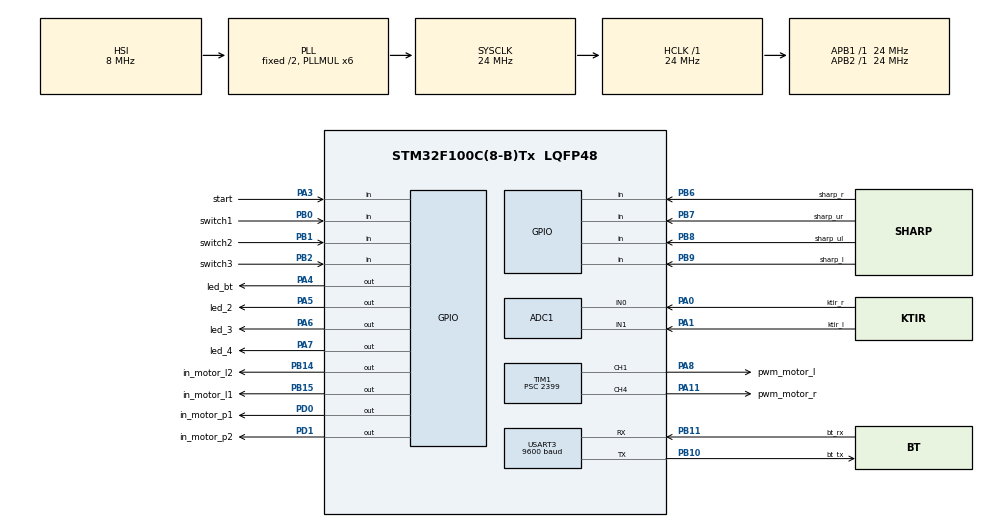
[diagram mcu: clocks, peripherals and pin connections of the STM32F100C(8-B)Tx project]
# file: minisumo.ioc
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ADC1.Channel-0\#ChannelRegularConversion=ADC_CHANNEL_0
ADC1.NbrOfConversionFlag=1
ADC1.Rank-0\#ChannelRegularConversion=1
ADC1.SamplingTime-0\#ChannelRegularConversion=ADC_SAMPLETIME_1CYCLE_5
ADC1.master=1
Mcu.Family=STM32F1
Mcu.Name=STM32F100C(8-B)Tx
Mcu.Package=LQFP48
NVIC.PriorityGroup=NVIC_PRIORITYGROUP_4
NVIC.USART3_IRQn=true\:0\:0\:false\:false\:true\:true
PA0-WKUP.GPIO_Label=ktir_r
PA0-WKUP.Signal=ADCx_IN0
PA1.GPIO_Label=ktir_l
PA1.Signal=ADCx_IN1
PA11.GPIO_Label=pwm_motor_r
PA11.Signal=S_TIM1_CH4
PA13.Mode=Serial_Wire
PA13.Signal=SYS_JTMS-SWDIO
PA14.Mode=Serial_Wire
PA14.Signal=SYS_JTCK-SWCLK
PA3.GPIO_Label=start
PA3.Signal=GPIO_Input
PA4.GPIO_Label=led_bt
PA4.Signal=GPIO_Output
PA5.GPIO_Label=led_2
PA5.Signal=GPIO_Output
PA6.GPIO_Label=led_3
PA6.Signal=GPIO_Output
PA7.GPIO_Label=led_4
PA7.Signal=GPIO_Output
PA8.GPIO_Label=pwm_motor_l
PA8.Signal=S_TIM1_CH1
PB0.GPIO_Label=switch1
PB0.Signal=GPIO_Input
PB1.GPIO_Label=switch2
PB1.Signal=GPIO_Input
PB10.GPIO_Label=bt_tx
PB10.Mode=Asynchronous
PB10.Signal=USART3_TX
PB11.GPIO_Label=bt_rx
PB11.Mode=Asynchronous
PB11.Signal=USART3_RX
PB14.GPIO_Label=in_motor_l2
PB14.Signal=GPIO_Output
PB15.GPIO_Label=in_motor_l1
PB15.Signal=GPIO_Output
PB2.GPIO_Label=switch3
PB2.Signal=GPIO_Input
PB6.GPIO_Label=sharp_r
PB6.Signal=GPIO_Input
PB7.GPIO_Label=sharp_ur
PB7.Signal=GPIO_Input
PB8.GPIO_Label=sharp_ul
PB8.Signal=GPIO_Input
PB9.GPIO_Label=sharp_l
PB9.Signal=GPIO_Input
PD0-OSC_IN.GPIO_Label=in_motor_p1
PD0-OSC_IN.Signal=GPIO_Output
PD1-OSC_OUT.GPIO_Label=in_motor_p2
PD1-OSC_OUT.Signal=GPIO_Output
ProjectManager.HeapSize=0x200
ProjectManager.StackSize=0x400
ProjectManager.TargetToolchain=SW4STM32
RCC.AHBFreq_Value=24000000
RCC.APB1Freq_Value=24000000
RCC.APB1TimFreq_Value=24000000
RCC.APB2Freq_Value=24000000
RCC.APB2TimFreq_Value=24000000
RCC.HCLKFreq_Value=24000000
RCC.PLLMUL=RCC_PLL_MUL6
RCC.SYSCLKFreq_VALUE=24000000
RCC.SYSCLKSource=RCC_SYSCLKSOURCE_PLLCLK
SH.ADCx_IN0.0=ADC1_IN0,IN0
SH.ADCx_IN1.0=ADC1_IN1,IN1
SH.S_TIM1_CH1.0=TIM1_CH1,PWM Generation1 CH1
SH.S_TIM1_CH4.0=TIM1_CH4,PWM Generation4 CH4
TIM1.Channel-PWM\ Generation1\ CH1=TIM_CHANNEL_1
TIM1.Channel-PWM\ Generation4\ CH4=TIM_CHANNEL_4
TIM1.Period=99
TIM1.Prescaler=2399
USART3.BaudRate=9600
USART3.VirtualMode=VM_ASYNC
VP_TIM1_VS_ClockSourceINT.Mode=Internal
board=minisumo

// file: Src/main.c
/**
  ******************************************************************************
  * File Name          : main.c
  * Description        : Main program body
  ******************************************************************************
  ** This notice applies to any and all portions of this file
  * that are not between comment pairs USER CODE BEGIN and
  * USER CODE END. Other portions of this file, whether
  * inserted by the user or by software development tools
  * are owned by their respective copyright owners.
  *
  * COPYRIGHT(c) 2017 STMicroelectronics
  *
  * Redistribution and use in source and binary forms, with or without modification,
  * are permitted provided that the following conditions are met:
  *   1. Redistributions of source code must retain the above copyright notice,
  *      this list of conditions and the following disclaimer.
  *   2. Redistributions in binary form must reproduce the above copyright notice,
  *      this list of conditions and the following disclaimer in the documentation
  *      and/or other materials provided with the distribution.
  *   3. Neither the name of STMicroelectronics nor the names of its contributors
  *      may be used to endorse or promote products derived from this software
  *      without specific prior written permission.
  *
  * THIS SOFTWARE IS PROVIDED BY THE COPYRIGHT HOLDERS AND CONTRIBUTORS "AS IS"
  * AND ANY EXPRESS OR IMPLIED WARRANTIES, INCLUDING, BUT NOT LIMITED TO, THE
  * IMPLIED WARRANTIES OF MERCHANTABILITY AND FITNESS FOR A PARTICULAR PURPOSE ARE
  * DISCLAIMED. IN NO EVENT SHALL THE COPYRIGHT HOLDER OR CONTRIBUTORS BE LIABLE
  * FOR ANY DIRECT, INDIRECT, INCIDENTAL, SPECIAL, EXEMPLARY, OR CONSEQUENTIAL
  * DAMAGES (INCLUDING, BUT NOT LIMITED TO, PROCUREMENT OF SUBSTITUTE GOODS OR
  * SERVICES; LOSS OF USE, DATA, OR PROFITS; OR BUSINESS INTERRUPTION) HOWEVER
  * CAUSED AND ON ANY THEORY OF LIABILITY, WHETHER IN CONTRACT, STRICT LIABILITY,
  * OR TORT (INCLUDING NEGLIGENCE OR OTHERWISE) ARISING IN ANY WAY OUT OF THE USE
  * OF THIS SOFTWARE, EVEN IF ADVISED OF THE POSSIBILITY OF SUCH DAMAGE.
  *
  ******************************************************************************
  */
#include "main.h"
#include "stm32f1xx_hal.h"

/* USER CODE BEGIN Includes */
#include "stdbool.h"
#include "stdlib.h"
/* USER CODE END Includes */

ADC_HandleTypeDef hadc1;

TIM_HandleTypeDef htim1;

UART_HandleTypeDef huart3;

/* USER CODE BEGIN PV */
/* Private variables ---------------------------------------------------------*/
uint16_t DutyR = 0;
uint16_t DutyL = 0;
uint8_t Received;
bool run = false;
/* USER CODE END PV */

void SystemClock_Config(void);
static void MX_GPIO_Init(void);
static void MX_ADC1_Init(void);
static void MX_TIM1_Init(void);
static void MX_USART3_UART_Init(void);

void HAL_TIM_MspPostInit(TIM_HandleTypeDef *htim);

/* USER CODE BEGIN PFP */
/* Private function prototypes -----------------------------------------------*/
void HAL_UART_RxCpltCallback(UART_HandleTypeDef *huart) {

	uint8_t Data[50]; // Tablica przechowujaca wysylana wiadomosc.
	uint16_t size = 0; // Rozmiar wysylanej wiadomosci

	// Odebrany znak zostaje przekonwertowany na liczbe calkowita i sprawdzony
	// instrukcja warunkowa
	switch (atoi(&Received)) {

	case 0: // Jezeli odebrany zostanie znak 0
		size = sprintf(Data, "STOP\n\r");
		HAL_GPIO_WritePin(GPIOA, led_bt_Pin, GPIO_PIN_SET);
		HAL_GPIO_WritePin(GPIOA, led_2_Pin, GPIO_PIN_SET);
		HAL_GPIO_WritePin(GPIOA, led_3_Pin, GPIO_PIN_SET);
		run = false;
		DutyL = 0;
	  DutyR = 0;
		break;

	case 1: // Jezeli odebrany zostanie znak 1
		size = sprintf(Data, "START\n\r");
		run = true;
		HAL_GPIO_WritePin(GPIOA, led_bt_Pin, GPIO_PIN_RESET);
		HAL_GPIO_WritePin(GPIOA, led_2_Pin, GPIO_PIN_RESET);
		HAL_GPIO_WritePin(GPIOA, led_3_Pin, GPIO_PIN_RESET);

		break;

	default: // Jezeli odebrano nieobslugiwany znak
		size = sprintf(Data, "Odebrano nieznany znak: %c\n\r", Received);
		break;
	}

	HAL_UART_Transmit_IT(&huart3, Data, size); // Rozpoczecie nadawania danych z wykorzystaniem przerwan
	HAL_UART_Receive_IT(&huart3, &Received, 1);
}
/* USER CODE END PFP */

int main(void)
{

  /* MCU Configuration----------------------------------------------------------*/

  /* Reset of all peripherals, Initializes the Flash interface and the Systick. */
  HAL_Init();

  /* Configure the system clock */
  SystemClock_Config();

  /* Initialize all configured peripherals */
  MX_GPIO_Init();
  MX_ADC1_Init();
  MX_TIM1_Init();
  MX_USART3_UART_Init();

  /* USER CODE BEGIN 2 */

  HAL_TIM_PWM_Start(&htim1, pwm_motor_r_Pin);
  HAL_TIM_PWM_Start(&htim1, pwm_motor_l_Pin);

  HAL_UART_Receive_IT(&huart3, &Received, 1);

  HAL_GPIO_WritePin(GPIOD, in_motor_p1_Pin, GPIO_PIN_SET);
  HAL_GPIO_WritePin(GPIOD, in_motor_p2_Pin, GPIO_PIN_RESET);
  HAL_GPIO_WritePin(GPIOB, in_motor_l1_Pin, GPIO_PIN_RESET);
  HAL_GPIO_WritePin(GPIOB, in_motor_l2_Pin, GPIO_PIN_SET);

  if (HAL_TIM_PWM_Start(&htim1, TIM_CHANNEL_1)==HAL_OK) {
	  HAL_GPIO_WritePin(GPIOA, GPIO_PIN_4, GPIO_PIN_SET);
  }

  if (HAL_TIM_PWM_Start(&htim1, TIM_CHANNEL_4)==HAL_OK) {
	  HAL_GPIO_WritePin(GPIOA, GPIO_PIN_5, GPIO_PIN_SET);
  }

  /* USER CODE END 2 */

  /* Infinite loop */
  /* USER CODE BEGIN WHILE */
  while (1) {
  	if (run) {

  	  HAL_Delay(20);
  	  if(!HAL_GPIO_ReadPin(GPIOB, sharp_l_Pin)) {
  	  	DutyR = 40;
  	  }

  	  if(!HAL_GPIO_ReadPin(GPIOB, sharp_ul_Pin)) {
  	  	HAL_GPIO_WritePin(GPIOA, led_2_Pin, GPIO_PIN_SET);
  	  	DutyR = 20;
  	  } else {
  		  HAL_GPIO_WritePin(GPIOA, led_2_Pin, GPIO_PIN_RESET);
  	  }

  	  if(!HAL_GPIO_ReadPin(GPIOB, sharp_r_Pin)) {
  	  	DutyL = 40;
  	  }

  	  if(!HAL_GPIO_ReadPin(GPIOB, sharp_ur_Pin)) {
  	  	HAL_GPIO_WritePin(GPIOA, led_3_Pin, GPIO_PIN_SET);
  	  	DutyL = 20;
  	  } else {
  		  HAL_GPIO_WritePin(GPIOA, led_3_Pin, GPIO_PIN_RESET);
  	  }

  	  if (!HAL_GPIO_ReadPin(GPIOB, sharp_r_Pin) || !HAL_GPIO_ReadPin(GPIOB, sharp_l_Pin)) {
  	  	HAL_GPIO_WritePin(GPIOA, led_bt_Pin, GPIO_PIN_SET);
  	  } else {
  	  	HAL_GPIO_WritePin(GPIOA, led_bt_Pin, GPIO_PIN_RESET);
  	  }

  	  TIM1->CCR1 = DutyR;
  	  TIM1->CCR4 = DutyL;
  	}
  /* USER CODE END WHILE */

  }

}

/** System Clock Configuration
*/
void SystemClock_Config(void)
{

  RCC_OscInitTypeDef RCC_OscInitStruct;
  RCC_ClkInitTypeDef RCC_ClkInitStruct;
  RCC_PeriphCLKInitTypeDef PeriphClkInit;

    /**Initializes the CPU, AHB and APB busses clocks
    */
  RCC_OscInitStruct.OscillatorType = RCC_OSCILLATORTYPE_HSI;
  RCC_OscInitStruct.HSIState = RCC_HSI_ON;
  RCC_OscInitStruct.HSICalibrationValue = 16;
  RCC_OscInitStruct.PLL.PLLState = RCC_PLL_ON;
  RCC_OscInitStruct.PLL.PLLSource = RCC_PLLSOURCE_HSI_DIV2;
  RCC_OscInitStruct.PLL.PLLMUL = RCC_PLL_MUL6;
  if (HAL_RCC_OscConfig(&RCC_OscInitStruct) != HAL_OK)
  {
    _Error_Handler(__FILE__, __LINE__);
  }

    /**Initializes the CPU, AHB and APB busses clocks
    */
  RCC_ClkInitStruct.ClockType = RCC_CLOCKTYPE_HCLK|RCC_CLOCKTYPE_SYSCLK
                              |RCC_CLOCKTYPE_PCLK1|RCC_CLOCKTYPE_PCLK2;
  RCC_ClkInitStruct.SYSCLKSource = RCC_SYSCLKSOURCE_PLLCLK;
  RCC_ClkInitStruct.AHBCLKDivider = RCC_SYSCLK_DIV1;
  RCC_ClkInitStruct.APB1CLKDivider = RCC_HCLK_DIV1;
  RCC_ClkInitStruct.APB2CLKDivider = RCC_HCLK_DIV1;

  if (HAL_RCC_ClockConfig(&RCC_ClkInitStruct, FLASH_LATENCY_0) != HAL_OK)
  {
    _Error_Handler(__FILE__, __LINE__);
  }

  PeriphClkInit.PeriphClockSelection = RCC_PERIPHCLK_ADC;
  PeriphClkInit.AdcClockSelection = RCC_ADCPCLK2_DIV2;
  if (HAL_RCCEx_PeriphCLKConfig(&PeriphClkInit) != HAL_OK)
  {
    _Error_Handler(__FILE__, __LINE__);
  }

    /**Configure the Systick interrupt time
    */
  HAL_SYSTICK_Config(HAL_RCC_GetHCLKFreq()/1000);

    /**Configure the Systick
    */
  HAL_SYSTICK_CLKSourceConfig(SYSTICK_CLKSOURCE_HCLK);

  /* SysTick_IRQn interrupt configuration */
  HAL_NVIC_SetPriority(SysTick_IRQn, 0, 0);
}

/* ADC1 init function */
static void MX_ADC1_Init(void)
{

  ADC_ChannelConfTypeDef sConfig;

    /**Common config
    */
  hadc1.Instance = ADC1;
  hadc1.Init.ScanConvMode = ADC_SCAN_DISABLE;
  hadc1.Init.ContinuousConvMode = DISABLE;
  hadc1.Init.DiscontinuousConvMode = DISABLE;
  hadc1.Init.ExternalTrigConv = ADC_SOFTWARE_START;
  hadc1.Init.DataAlign = ADC_DATAALIGN_RIGHT;
  hadc1.Init.NbrOfConversion = 1;
  if (HAL_ADC_Init(&hadc1) != HAL_OK)
  {
    _Error_Handler(__FILE__, __LINE__);
  }

    /**Configure Regular Channel
    */
  sConfig.Channel = ADC_CHANNEL_0;
  sConfig.Rank = 1;
  sConfig.SamplingTime = ADC_SAMPLETIME_1CYCLE_5;
  if (HAL_ADC_ConfigChannel(&hadc1, &sConfig) != HAL_OK)
  {
    _Error_Handler(__FILE__, __LINE__);
  }

}

/* TIM1 init function */
static void MX_TIM1_Init(void)
{

  TIM_ClockConfigTypeDef sClockSourceConfig;
  TIM_MasterConfigTypeDef sMasterConfig;
  TIM_OC_InitTypeDef sConfigOC;
  TIM_BreakDeadTimeConfigTypeDef sBreakDeadTimeConfig;

  htim1.Instance = TIM1;
  htim1.Init.Prescaler = 2399;
  htim1.Init.CounterMode = TIM_COUNTERMODE_UP;
  htim1.Init.Period = 99;
  htim1.Init.ClockDivision = TIM_CLOCKDIVISION_DIV1;
  htim1.Init.RepetitionCounter = 0;
  htim1.Init.AutoReloadPreload = TIM_AUTORELOAD_PRELOAD_DISABLE;
  if (HAL_TIM_Base_Init(&htim1) != HAL_OK)
  {
    _Error_Handler(__FILE__, __LINE__);
  }

  sClockSourceConfig.ClockSource = TIM_CLOCKSOURCE_INTERNAL;
  if (HAL_TIM_ConfigClockSource(&htim1, &sClockSourceConfig) != HAL_OK)
  {
    _Error_Handler(__FILE__, __LINE__);
  }

  if (HAL_TIM_PWM_Init(&htim1) != HAL_OK)
  {
    _Error_Handler(__FILE__, __LINE__);
  }

  sMasterConfig.MasterOutputTrigger = TIM_TRGO_RESET;
  sMasterConfig.MasterSlaveMode = TIM_MASTERSLAVEMODE_DISABLE;
  if (HAL_TIMEx_MasterConfigSynchronization(&htim1, &sMasterConfig) != HAL_OK)
  {
    _Error_Handler(__FILE__, __LINE__);
  }

  sConfigOC.OCMode = TIM_OCMODE_PWM1;
  sConfigOC.Pulse = 0;
  sConfigOC.OCPolarity = TIM_OCPOLARITY_HIGH;
  sConfigOC.OCNPolarity = TIM_OCNPOLARITY_HIGH;
  sConfigOC.OCFastMode = TIM_OCFAST_DISABLE;
  sConfigOC.OCIdleState = TIM_OCIDLESTATE_RESET;
  sConfigOC.OCNIdleState = TIM_OCNIDLESTATE_RESET;
  if (HAL_TIM_PWM_ConfigChannel(&htim1, &sConfigOC, TIM_CHANNEL_1) != HAL_OK)
  {
    _Error_Handler(__FILE__, __LINE__);
  }

  if (HAL_TIM_PWM_ConfigChannel(&htim1, &sConfigOC, TIM_CHANNEL_4) != HAL_OK)
  {
    _Error_Handler(__FILE__, __LINE__);
  }

  sBreakDeadTimeConfig.OffStateRunMode = TIM_OSSR_DISABLE;
  sBreakDeadTimeConfig.OffStateIDLEMode = TIM_OSSI_DISABLE;
  sBreakDeadTimeConfig.LockLevel = TIM_LOCKLEVEL_OFF;
  sBreakDeadTimeConfig.DeadTime = 0;
  sBreakDeadTimeConfig.BreakState = TIM_BREAK_DISABLE;
  sBreakDeadTimeConfig.BreakPolarity = TIM_BREAKPOLARITY_HIGH;
  sBreakDeadTimeConfig.AutomaticOutput = TIM_AUTOMATICOUTPUT_DISABLE;
  if (HAL_TIMEx_ConfigBreakDeadTime(&htim1, &sBreakDeadTimeConfig) != HAL_OK)
  {
    _Error_Handler(__FILE__, __LINE__);
  }

  HAL_TIM_MspPostInit(&htim1);

}

/* USART3 init function */
static void MX_USART3_UART_Init(void)
{

  huart3.Instance = USART3;
  huart3.Init.BaudRate = 9600;
  huart3.Init.WordLength = UART_WORDLENGTH_8B;
  huart3.Init.StopBits = UART_STOPBITS_1;
  huart3.Init.Parity = UART_PARITY_NONE;
  huart3.Init.Mode = UART_MODE_TX_RX;
  huart3.Init.HwFlowCtl = UART_HWCONTROL_NONE;
  huart3.Init.OverSampling = UART_OVERSAMPLING_16;
  if (HAL_UART_Init(&huart3) != HAL_OK)
  {
    _Error_Handler(__FILE__, __LINE__);
  }

}

/** Configure pins as
        * Analog
        * Input
        * Output
        * EVENT_OUT
        * EXTI
*/
static void MX_GPIO_Init(void)
{

  GPIO_InitTypeDef GPIO_InitStruct;

  /* GPIO Ports Clock Enable */
  __HAL_RCC_GPIOD_CLK_ENABLE();
  __HAL_RCC_GPIOA_CLK_ENABLE();
  __HAL_RCC_GPIOB_CLK_ENABLE();

  /*Configure GPIO pin Output Level */
  HAL_GPIO_WritePin(GPIOD, in_motor_p1_Pin|in_motor_p2_Pin, GPIO_PIN_RESET);

  /*Configure GPIO pin Output Level */
  HAL_GPIO_WritePin(GPIOA, led_bt_Pin|led_2_Pin|led_3_Pin|led_4_Pin, GPIO_PIN_RESET);

  /*Configure GPIO pin Output Level */
  HAL_GPIO_WritePin(GPIOB, in_motor_l2_Pin|in_motor_l1_Pin, GPIO_PIN_RESET);

  /*Configure GPIO pins : in_motor_p1_Pin in_motor_p2_Pin */
  GPIO_InitStruct.Pin = in_motor_p1_Pin|in_motor_p2_Pin;
  GPIO_InitStruct.Mode = GPIO_MODE_OUTPUT_PP;
  GPIO_InitStruct.Speed = GPIO_SPEED_FREQ_LOW;
  HAL_GPIO_Init(GPIOD, &GPIO_InitStruct);

  /*Configure GPIO pin : start_Pin */
  GPIO_InitStruct.Pin = start_Pin;
  GPIO_InitStruct.Mode = GPIO_MODE_INPUT;
  GPIO_InitStruct.Pull = GPIO_NOPULL;
  HAL_GPIO_Init(start_GPIO_Port, &GPIO_InitStruct);

  /*Configure GPIO pins : led_bt_Pin led_2_Pin led_3_Pin led_4_Pin */
  GPIO_InitStruct.Pin = led_bt_Pin|led_2_Pin|led_3_Pin|led_4_Pin;
  GPIO_InitStruct.Mode = GPIO_MODE_OUTPUT_PP;
  GPIO_InitStruct.Speed = GPIO_SPEED_FREQ_LOW;
  HAL_GPIO_Init(GPIOA, &GPIO_InitStruct);

  /*Configure GPIO pins : switch1_Pin switch2_Pin switch3_Pin sharp_r_Pin
                           sharp_ur_Pin sharp_ul_Pin sharp_l_Pin */
  GPIO_InitStruct.Pin = switch1_Pin|switch2_Pin|switch3_Pin|sharp_r_Pin
                          |sharp_ur_Pin|sharp_ul_Pin|sharp_l_Pin;
  GPIO_InitStruct.Mode = GPIO_MODE_INPUT;
  GPIO_InitStruct.Pull = GPIO_NOPULL;
  HAL_GPIO_Init(GPIOB, &GPIO_InitStruct);

  /*Configure GPIO pins : in_motor_l2_Pin in_motor_l1_Pin */
  GPIO_InitStruct.Pin = in_motor_l2_Pin|in_motor_l1_Pin;
  GPIO_InitStruct.Mode = GPIO_MODE_OUTPUT_PP;
  GPIO_InitStruct.Speed = GPIO_SPEED_FREQ_LOW;
  HAL_GPIO_Init(GPIOB, &GPIO_InitStruct);

  /*Configure peripheral I/O remapping */
  __HAL_AFIO_REMAP_PD01_ENABLE();

}

void _Error_Handler(char * file, int line)
{
  while(1)
  {
  }
}

/************************ (C) COPYRIGHT STMicroelectronics *****END OF FILE****/
